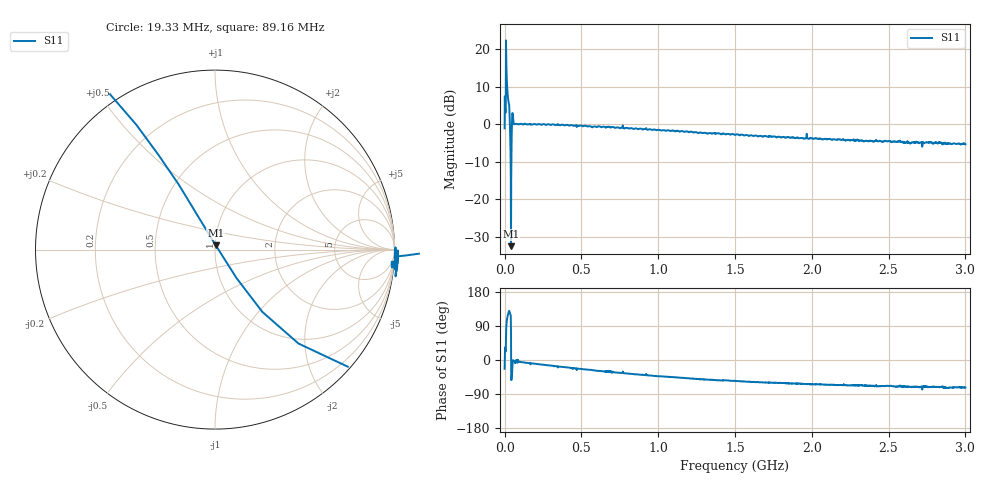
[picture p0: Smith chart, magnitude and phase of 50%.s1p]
# HZ S RI R 50
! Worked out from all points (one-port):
!   2020 points, 10 kHz to 3 GHz, reference 50 ohm
!   lowest |S11| = -32.5 dB at 41.61 MHz (marker M1), VSWR 1.05, Z = 50.4 + j2.35 ohm
!   |S11| at or under -10 dB: 39.28 MHz to 43.98 MHz (4.704 MHz wide, 11.3 % of centre)
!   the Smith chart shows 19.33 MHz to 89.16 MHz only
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10000  0.8127 -0.3514
2981758  1.412 0.9218
5953516  1.327 0.5401
1.486879e7  -0.9861 3.561
1.635467e7  -1.055 3.012
1.784055e7  -1.09 2.615
2.378406e7  -1.135 1.769
2.526994e7  -1.142 1.651
2.675582e7  -1.151 1.549
2.972758e7  -1.171 1.395
3.269934e7  -0.7638 1.039
3.56711e7  -0.4378 0.6948
4.161461e7  0.00465 0.0233
4.755813e7  0.7399 -0.6525
5.350164e7  1.339 -0.0789
5.64734e7  1.136 -0.0227
5.944516e7  1.016 -0.0378
6.39028e7  1.007 -0.0592
6.836043e7  1.006 -0.1489
7.578983e7  1.018 -0.00475
3.759374e8  0.9418 -0.3121
7.503789e8  0.7394 -0.4953
1.126306e9  0.5687 -0.5927
1.500748e9  0.4132 -0.594
1.875189e9  0.317 -0.5913
2.251117e9  0.2404 -0.5641
2.625558e9  0.1961 -0.537
3e9  0.1625 -0.5192
